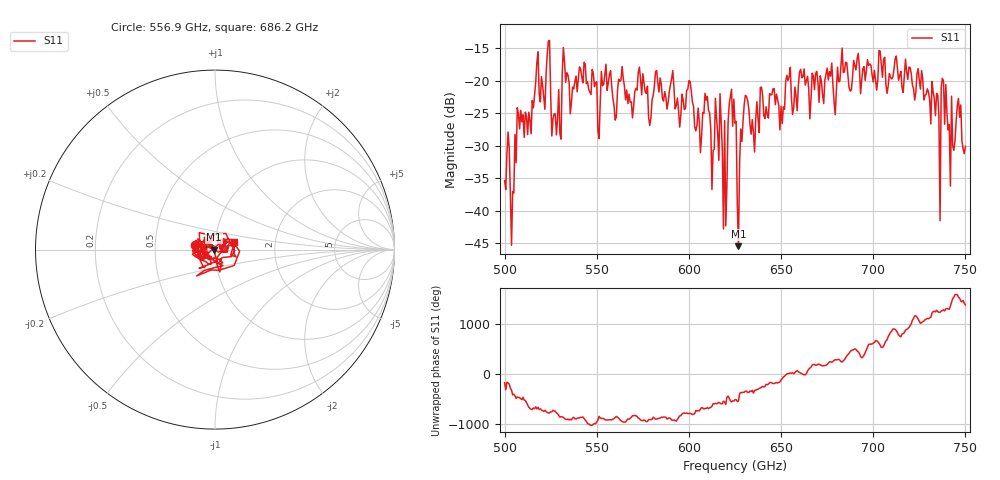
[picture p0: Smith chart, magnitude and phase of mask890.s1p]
!Created with skrf (http://scikit-rf.org).
# GHz S MA R 50.0
!freq magS11 angS11
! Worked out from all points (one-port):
!   401 points, 500 GHz to 750 GHz, reference 50 ohm
!   lowest |S11| = -45.4 dB at 626.9 GHz (marker M1), VSWR 1.01, Z = 49.5 + j0.00776 ohm
!   |S11| at or under -10 dB: start of sweep to end of sweep
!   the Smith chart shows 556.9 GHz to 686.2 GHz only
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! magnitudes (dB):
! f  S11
! 500 GHz  -35.4
! 504.4 GHz  -37.0
! 508.1 GHz  -27.4
! 513.1 GHz  -24.8
! 517.5 GHz  -17.2
! 523.8 GHz  -13.9
! 526.9 GHz  -25.1
! 531.2 GHz  -19.0
! 560 GHz  -26.1
! 562.5 GHz  -20.1
! 593.8 GHz  -22.7
! 610 GHz  -22.4
! 612.5 GHz  -36.7
! 616.2 GHz  -32.2
! 619.4 GHz  -26.1
! 622.5 GHz  -22.4
! 625 GHz  -26.5
! 626.9 GHz  -45.4
! 631.2 GHz  -22.4
! 634.4 GHz  -26.0
! 656.2 GHz  -25.2
! 687.5 GHz  -21.6
! 718.8 GHz  -19.8
! 735 GHz  -22.2
! 738.1 GHz  -20.0
! 743.1 GHz  -30.1
! 746.2 GHz  -22.7
! 750 GHz  -30.1
